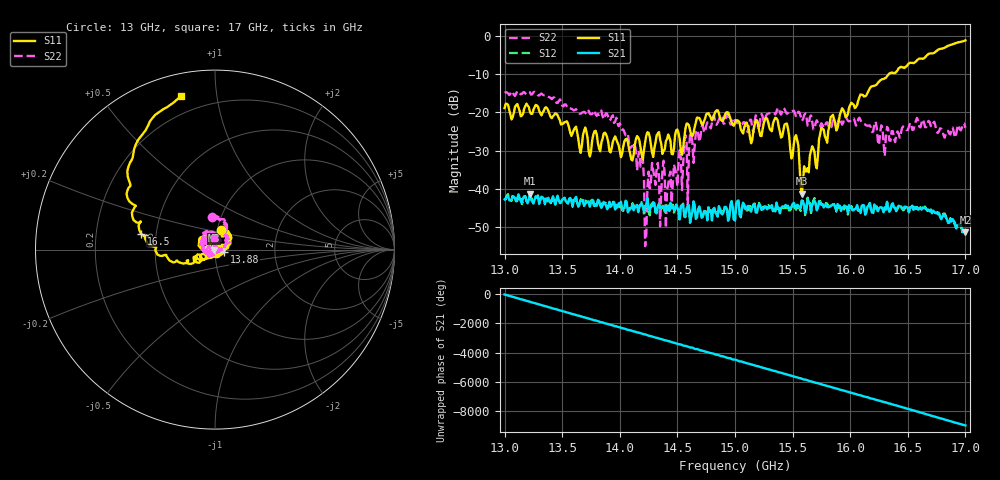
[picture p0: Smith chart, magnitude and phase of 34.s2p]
!Keysight Technologies,P9374A,MY57211807,A.19.30.04
!Date: Friday, May 01, 2026 14:13:34
!Correction: S11(C  2-Port  )
!S21(C  2-Port  )
!S12(C  2-Port  )
!S22(C  2-Port  )
!S2P File: Measurements: S11, S21, S12, S22:
# Hz S  RI  R 50
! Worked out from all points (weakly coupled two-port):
!   401 points, 13 GHz to 17 GHz, reference 50 ohm
!   highest |S21| = -41.32 dB at 13.22 GHz (marker M1); lowest = -51.5 dB at 17 GHz (marker M2)
!   lowest |S11| = -41.3 dB at 15.58 GHz (marker M3), VSWR 1.02, Z = 49.3 - j0.441 ohm
!   |S11| at or under -10 dB: start of sweep to 16.33 GHz
!   |S22| runs from -55.1 to -14.5 dB; largest |S21 - S12| = 0.00092
!   S11 on the Smith chart (normalised r, x): 13 GHz: 1.04, +0.23; 13.88 GHz: 1.11, -0.03; 16.5 GHz: 0.41, +0.09; 17 GHz: 0.11, +0.80
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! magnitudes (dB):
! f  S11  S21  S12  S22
! 13 GHz  -18.9  -42.8  -42.7  -14.9
! 13.22 GHz  -19.9  -41.3  -41.9  -14.7
! 13.67 GHz  -28.8  -43.2  -42.9  -20.1
! 13.88 GHz  -25.7  -44.3  -43.4  -20.2
! 14.18 GHz  -29.2  -44.2  -44.5  -34.2
! 14.21 GHz  -29.8  -45.9  -46.8  -37.7
! 14.24 GHz  -25.2  -42.6  -42.6  -39.7
! 14.27 GHz  -28.4  -44.6  -44.4  -38.3
! 14.34 GHz  -25.2  -43.9  -44.1  -36.8
! 14.42 GHz  -25.8  -44.4  -44.6  -39.0
! 14.54 GHz  -31.1  -44.4  -44.3  -40.4
! 14.59 GHz  -23.0  -44.6  -44.5  -44.3
! 14.73 GHz  -22.4  -45.9  -46.5  -24.9
! 15 GHz  -22.6  -48.3  -48.3  -22.1
! 15.44 GHz  -23.0  -44.3  -44.6  -19.9
! 15.49 GHz  -32.1  -44.8  -44.9  -19.9
! 15.53 GHz  -26.0  -45.3  -45.5  -21.2
! 15.58 GHz  -41.3  -43.1  -43.1  -22.2
! 15.67 GHz  -28.9  -44.2  -44.6  -22.4
! 16.34 GHz  -9.8  -46.1  -45.3  -27.4
! 16.5 GHz  -7.5  -45.1  -45.0  -24.6
! 17 GHz  -1.2  -51.5  -51.4  -24.1
